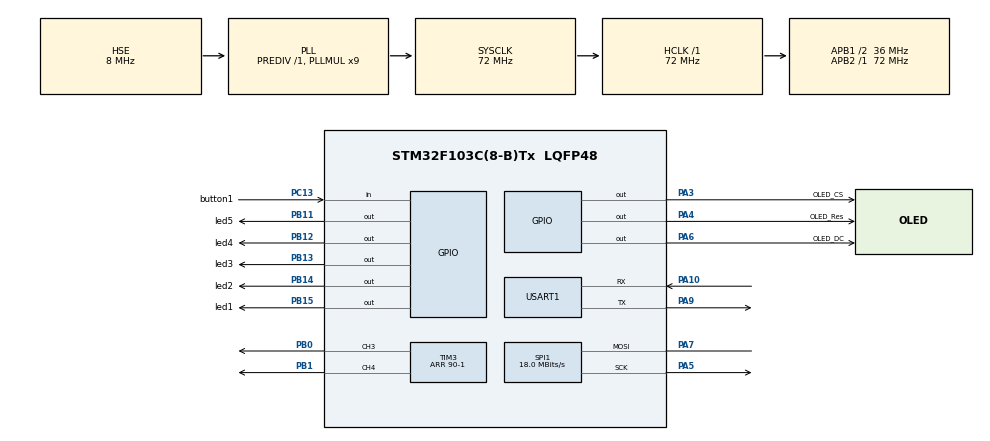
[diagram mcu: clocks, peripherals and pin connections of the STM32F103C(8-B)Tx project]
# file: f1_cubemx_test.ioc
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Dma.Request0=TIM3_CH3
Dma.Request1=TIM3_CH4/UP
Dma.TIM3_CH3.0.Direction=DMA_MEMORY_TO_PERIPH
Dma.TIM3_CH3.0.Instance=DMA1_Channel2
Dma.TIM3_CH3.0.MemDataAlignment=DMA_MDATAALIGN_HALFWORD
Dma.TIM3_CH3.0.MemInc=DMA_MINC_ENABLE
Dma.TIM3_CH3.0.Mode=DMA_NORMAL
Dma.TIM3_CH3.0.PeriphDataAlignment=DMA_PDATAALIGN_HALFWORD
Dma.TIM3_CH3.0.PeriphInc=DMA_PINC_DISABLE
Dma.TIM3_CH3.0.Priority=DMA_PRIORITY_LOW
Dma.TIM3_CH4/UP.1.Direction=DMA_MEMORY_TO_PERIPH
Dma.TIM3_CH4/UP.1.Instance=DMA1_Channel3
Dma.TIM3_CH4/UP.1.MemDataAlignment=DMA_MDATAALIGN_HALFWORD
Dma.TIM3_CH4/UP.1.MemInc=DMA_MINC_ENABLE
Dma.TIM3_CH4/UP.1.Mode=DMA_NORMAL
Dma.TIM3_CH4/UP.1.PeriphDataAlignment=DMA_PDATAALIGN_HALFWORD
Dma.TIM3_CH4/UP.1.PeriphInc=DMA_PINC_DISABLE
Dma.TIM3_CH4/UP.1.Priority=DMA_PRIORITY_LOW
Mcu.Family=STM32F1
Mcu.Name=STM32F103C(8-B)Tx
Mcu.Package=LQFP48
NVIC.DMA1_Channel2_IRQn=true\:0\:0\:false\:false\:true\:false\:true\:true
NVIC.DMA1_Channel3_IRQn=true\:0\:0\:false\:false\:true\:false\:true\:true
NVIC.PriorityGroup=NVIC_PRIORITYGROUP_4
PA10.Mode=Asynchronous
PA10.Signal=USART1_RX
PA13.Mode=Serial_Wire
PA13.Signal=SYS_JTMS-SWDIO
PA14.Mode=Serial_Wire
PA14.Signal=SYS_JTCK-SWCLK
PA3.GPIO_Label=OLED_CS
PA3.Signal=GPIO_Output
PA4.GPIO_Label=OLED_Res
PA4.Signal=GPIO_Output
PA5.Mode=Simplex_Bidirectional_Master
PA5.Signal=SPI1_SCK
PA6.GPIO_Label=OLED_DC
PA6.Signal=GPIO_Output
PA7.Mode=Simplex_Bidirectional_Master
PA7.Signal=SPI1_MOSI
PA9.Mode=Asynchronous
PA9.Signal=USART1_TX
PB0.GPIO_ModeDefaultPP=GPIO_MODE_AF_PP
PB0.Signal=S_TIM3_CH3
PB1.GPIO_ModeDefaultPP=GPIO_MODE_AF_PP
PB1.Signal=S_TIM3_CH4
PB11.GPIO_Label=led5
PB11.Signal=GPIO_Output
PB12.GPIO_Label=led4
PB12.Signal=GPIO_Output
PB13.GPIO_Label=led3
PB13.Signal=GPIO_Output
PB14.GPIO_Label=led2
PB14.Signal=GPIO_Output
PB15.GPIO_Label=led1
PB15.Signal=GPIO_Output
PC13-TAMPER-RTC.GPIO_Label=button1
PC13-TAMPER-RTC.GPIO_PuPd=GPIO_PULLUP
PC13-TAMPER-RTC.Signal=GPIO_Input
PD0-OSC_IN.Mode=HSE-External-Oscillator
PD0-OSC_IN.Signal=RCC_OSC_IN
PD1-OSC_OUT.Mode=HSE-External-Oscillator
PD1-OSC_OUT.Signal=RCC_OSC_OUT
ProjectManager.HeapSize=0x200
ProjectManager.StackSize=0x400
ProjectManager.TargetToolchain=CMake
RCC.AHBFreq_Value=72000000
RCC.APB1CLKDivider=RCC_HCLK_DIV2
RCC.APB1Freq_Value=36000000
RCC.APB1TimFreq_Value=72000000
RCC.APB2Freq_Value=72000000
RCC.APB2TimFreq_Value=72000000
RCC.HCLKFreq_Value=72000000
RCC.PLLMUL=RCC_PLL_MUL9
RCC.PLLSourceVirtual=RCC_PLLSOURCE_HSE
RCC.SYSCLKFreq_VALUE=72000000
RCC.SYSCLKSource=RCC_SYSCLKSOURCE_PLLCLK
RCC.USBFreq_Value=72000000
SH.S_TIM3_CH3.0=TIM3_CH3,PWM Generation3 CH3
SH.S_TIM3_CH4.0=TIM3_CH4,PWM Generation4 CH4
SPI1.BaudRatePrescaler=SPI_BAUDRATEPRESCALER_4
SPI1.CalculateBaudRate=18.0 MBits/s
SPI1.Direction=SPI_DIRECTION_1LINE
SPI1.Mode=SPI_MODE_MASTER
SPI1.VirtualType=VM_MASTER
TIM3.Channel-PWM\ Generation3\ CH3=TIM_CHANNEL_3
TIM3.Channel-PWM\ Generation4\ CH4=TIM_CHANNEL_4
TIM3.Period=90-1
USART1.VirtualMode=VM_ASYNC
board=custom

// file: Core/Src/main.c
/* USER CODE BEGIN Header */
/**
 ******************************************************************************
 * @file           : main.c
 * @brief          : Main program body
 ******************************************************************************
 * @attention
 *
 * Copyright (c) 2025 STMicroelectronics.
 * All rights reserved.
 *
 * This software is licensed under terms that can be found in the LICENSE file
 * in the root directory of this software component.
 * If no LICENSE file comes with this software, it is provided AS-IS.
 *
 ******************************************************************************
 */
/* USER CODE END Header */
#include "main.h"
#include "dma.h"
#include "spi.h"
#include "tim.h"
#include "usart.h"
#include "gpio.h"

/* USER CODE BEGIN Includes */
#include <stdint.h>
#include <math.h>
#include "ssd1306.h"
#include "ssd1306_fonts.h"
#include "ws2812.h"
// #include "ssd1306_bmp.h"
// #include "chiikawa.h"
// #include "test.h"
// #include "test2.h"
// #include "test3.h"
#include "test4.h"

// #include "cxk.h"
/* USER CODE END Includes */

/* USER CODE BEGIN PV */
float t = 0.0f;
float Ts = 0.1f;  // 时间步长
float T = 1.0f;    // 周期 1 秒
float A = 1.0f;    // 幅值 ±1
float y = 0.0;
/* USER CODE END PV */

void SystemClock_Config(void);

/* USER CODE BEGIN 0 */
float triangle_wave(float t, float T, float A) {
    float t_mod = fmod(t, T); // 对周期取模
    if (t_mod < T / 2.0f)
        return (2.0f * A / (T / 2.0f)) * t_mod - A; // 上升段
    else
        return (-2.0f * A / (T / 2.0f)) * (t_mod - T / 2.0f) + A; // 下降段
}
/* USER CODE END 0 */

int main(void)
{

  /* MCU Configuration--------------------------------------------------------*/

  /* Reset of all peripherals, Initializes the Flash interface and the Systick. */
  HAL_Init();

  /* Configure the system clock */
  SystemClock_Config();

  /* Initialize all configured peripherals */
  MX_GPIO_Init();
  MX_DMA_Init();
  MX_USART1_UART_Init();
  MX_SPI1_Init();
  MX_TIM3_Init();
  /* USER CODE BEGIN 2 */
  ssd1306_Init();
  ssd1306_SetCursor(0,0);
  ssd1306_WriteString("linkyourbin", Font_11x18, White);
  // ssd1306_DrawBitmap(0, 0, demo, 128, 64, White);
  ssd1306_UpdateScreen();
  ws2812_update();

  /* USER CODE END 2 */

  /* Infinite loop */
  /* USER CODE BEGIN WHILE */
  while (1) {

    // for (uint8_t i = 0; i < IMAGE_COUNT; i ++){
    //   ssd1306_Fill(Black);
    //   ssd1306_DrawBitmap(0, 0, image_array[i], 128, 64, White);
    //   ssd1306_UpdateScreen();
    //   HAL_Delay(FRAME_DELAY);
    // }

    y = triangle_wave(t, T, A);
    t += Ts;

    /* USER CODE END WHILE */

  }
}

void SystemClock_Config(void)
{
  RCC_OscInitTypeDef RCC_OscInitStruct = {0};
  RCC_ClkInitTypeDef RCC_ClkInitStruct = {0};

  /** Initializes the RCC Oscillators according to the specified parameters
  * in the RCC_OscInitTypeDef structure.
  */
  RCC_OscInitStruct.OscillatorType = RCC_OSCILLATORTYPE_HSE;
  RCC_OscInitStruct.HSEState = RCC_HSE_ON;
  RCC_OscInitStruct.HSEPredivValue = RCC_HSE_PREDIV_DIV1;
  RCC_OscInitStruct.HSIState = RCC_HSI_ON;
  RCC_OscInitStruct.PLL.PLLState = RCC_PLL_ON;
  RCC_OscInitStruct.PLL.PLLSource = RCC_PLLSOURCE_HSE;
  RCC_OscInitStruct.PLL.PLLMUL = RCC_PLL_MUL9;
  if (HAL_RCC_OscConfig(&RCC_OscInitStruct) != HAL_OK)
  {
    Error_Handler();
  }

  /** Initializes the CPU, AHB and APB buses clocks
  */
  RCC_ClkInitStruct.ClockType = RCC_CLOCKTYPE_HCLK|RCC_CLOCKTYPE_SYSCLK
                              |RCC_CLOCKTYPE_PCLK1|RCC_CLOCKTYPE_PCLK2;
  RCC_ClkInitStruct.SYSCLKSource = RCC_SYSCLKSOURCE_PLLCLK;
  RCC_ClkInitStruct.AHBCLKDivider = RCC_SYSCLK_DIV1;
  RCC_ClkInitStruct.APB1CLKDivider = RCC_HCLK_DIV2;
  RCC_ClkInitStruct.APB2CLKDivider = RCC_HCLK_DIV1;

  if (HAL_RCC_ClockConfig(&RCC_ClkInitStruct, FLASH_LATENCY_2) != HAL_OK)
  {
    Error_Handler();
  }
}

void Error_Handler(void)
{
  __disable_irq();
  while (1) {
  }
}

#ifdef  USE_FULL_ASSERT
/**
  * @brief  Reports the name of the source file and the source line number
  *         where the assert_param error has occurred.
  * @param  file: pointer to the source file name
  * @param  line: assert_param error line source number
  * @retval None
  */
void assert_failed(uint8_t *file, uint32_t line)
{
  /* USER CODE BEGIN 6 */
  /* User can add his own implementation to report the file name and line
     number, ex: printf("Wrong parameters value: file %s on line %d\r\n", file,
     line) */
  /* USER CODE END 6 */
}
#endif /* USE_FULL_ASSERT */
